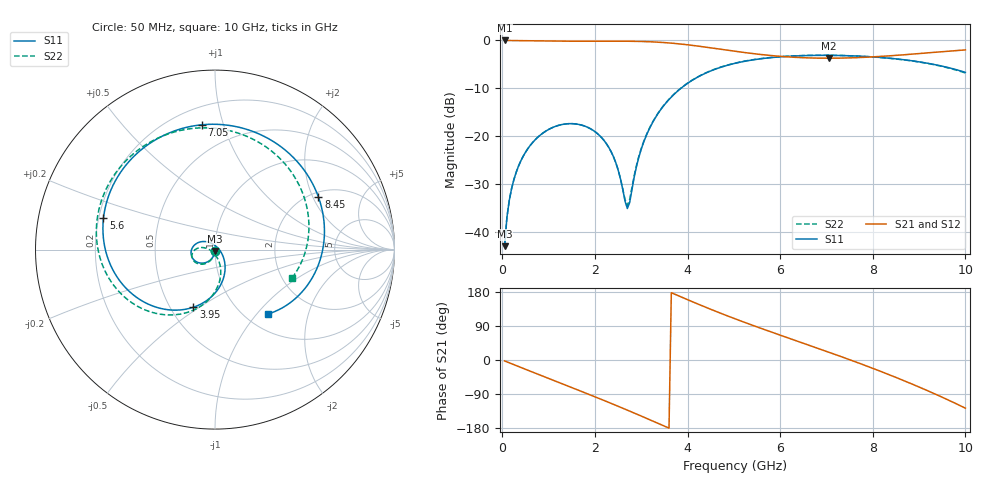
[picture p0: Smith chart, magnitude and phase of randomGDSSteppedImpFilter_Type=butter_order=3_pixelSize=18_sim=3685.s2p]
! freq	dB(S11)	phase(S11)	dB(S12)	phase(S12)
!  dB(S21)	phase(S21)	dB(S22)	phase(S22)
!S-par simulation data
#  GHz  S  DB  R 50
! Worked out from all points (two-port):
!   200 points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, 50 MHz to 10 GHz, reference 50 ohm
!   highest |S21| = 0.00 dB at 50 MHz (marker M1); lowest = -3.7 dB at 7.05 GHz (marker M2)
!   |S21| within 3 dB of the highest: start of sweep to 5.65 GHz; 8.657 GHz to end of sweep
!   lowest |S11| = -42.9 dB at 50 MHz (marker M3), VSWR 1.01, Z = 50 - j0.714 ohm
!   |S11| at or under -10 dB: start of sweep to 3.855 GHz
!   |S22| runs from -42.9 to -3.1 dB; largest |S21 - S12| = 0
!   S11 on the Smith chart (normalised r, x): 50 MHz: 1.00, -0.01; 3.95 GHz: 0.65, -0.47; 5.6 GHz: 0.22, +0.13; 7.05 GHz: 0.31, +0.85; 8.45 GHz: 2.19, +2.21; 10 GHz: 1.25, -1.15
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0.05  -42.91 -92.2  -0.00 -2.5  -0.00 -2.5  -42.92 -91.9
0.1  -36.91 -95.1  -0.01 -5.0  -0.01 -5.0  -36.91 -94.5
0.2  -30.94 -100.4  -0.02 -9.9  -0.02 -9.9  -30.94 -99.4
0.55  -22.60 -118.8  -0.06 -26.9  -0.06 -26.9  -22.59 -116.0
1.1  -18.11 -147.3  -0.13 -53.5  -0.13 -53.5  -18.11 -141.2
1.75  -17.77 178.3  -0.17 -84.9  -0.17 -84.9  -17.77 -169.5
2.35  -23.20 139.8  -0.15 -114.4  -0.15 -114.4  -23.22 170.5
2.5  -26.97 123.4  -0.15 -122.0  -0.15 -122.0  -26.97 172.4
2.7  -35.06 48.6  -0.16 -132.3  -0.16 -132.3  -34.43 -132.8
3  -22.69 -46.8  -0.21 -147.9  -0.21 -147.9  -22.55 -71.7
3.4  -14.72 -77.5  -0.38 -169.1  -0.38 -169.1  -14.65 -82.8
3.95  -9.29 -110.6  -0.85 161.8  -0.85 161.8  -9.24 -107.4
4.5  -6.36 -140.9  -1.54 133.8  -1.54 133.8  -6.32 -132.6
5.05  -4.72 -169.1  -2.29 107.6  -2.29 107.6  -4.67 -156.3
5.6  -3.80 164.3  -2.95 82.9  -2.95 82.9  -3.76 -178.6
6.7  -3.12 112.6  -3.67 35.7  -3.67 35.7  -3.10 139.4
7.05  -3.11 96.0  -3.71 20.7  -3.71 20.7  -3.09 125.9
7.65  -3.25 66.9  -3.59 -5.9  -3.59 -5.9  -3.25 102.1
8.35  -3.70 32.0  -3.22 -38.6  -3.22 -38.6  -3.72 71.9
8.45  -3.79 27.0  -3.15 -43.5  -3.15 -43.5  -3.81 67.3
9.3  -4.96 -15.9  -2.50 -87.3  -2.50 -87.3  -5.01 23.8
10  -6.66 -50.6  -1.98 -127.1  -1.98 -127.1  -6.79 -20.1
